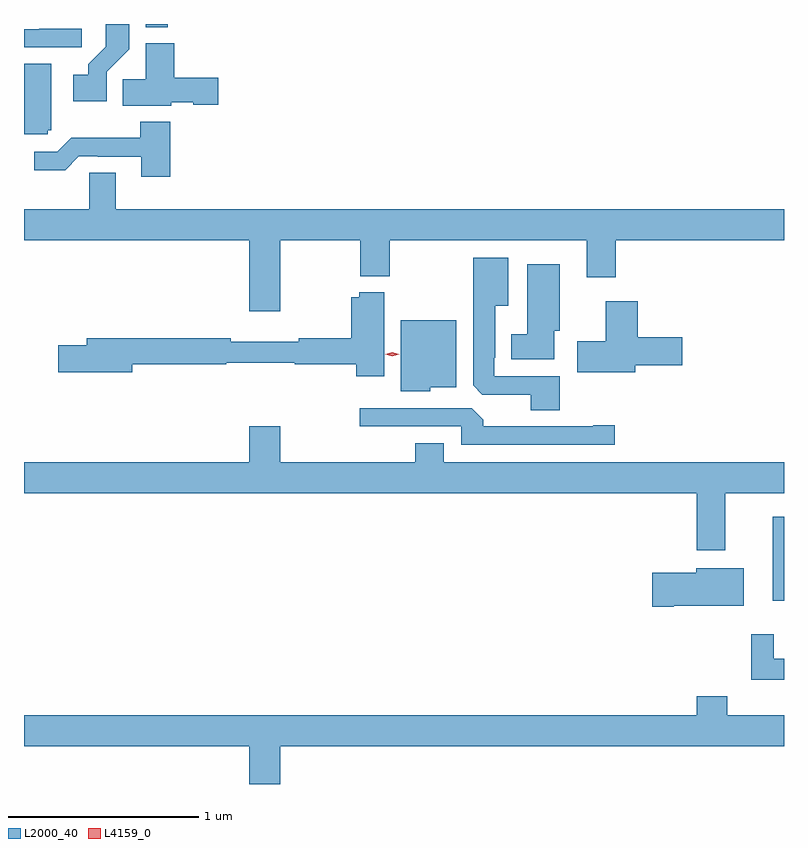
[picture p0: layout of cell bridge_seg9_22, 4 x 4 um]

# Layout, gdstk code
import gdstk
lib = gdstk.Library(unit=1e-6, precision=1e-09)
def R(c, l, rs):  # rectangles x0, y0, x1, y1
    for r in rs: c.add(gdstk.rectangle(r[:2], r[2:], *l))
def P(c, l, *ps):  # polygons
    for p in ps: c.add(gdstk.Polygon(p, *l))
L2000_40 = (2000, 40)
L4159_0 = (4159, 0)

bridge_seg9_22 = lib.new_cell('bridge_seg9_22')
R(bridge_seg9_22, L2000_40, [(1018.913,1170.546,1018.971,1170.988), (1015.611,1173.566,1015.727,1173.582)])
P(bridge_seg9_22, L2000_40, [(1015.407,1173.331),(1015.526,1173.45),(1015.526,1173.582),(1015.401,1173.582),(1015.401,1173.461),(1015.31,1173.371),(1015.31,1173.316),(1015.23,1173.316),(1015.23,1173.176),(1015.407,1173.176)],
  [(1015.276,1173.558),(1015.051,1173.558),(1015.051,1173.555),(1014.971,1173.555),(1014.971,1173.459),(1015.276,1173.459)],
  [(1015.746,1173.17),(1015.863,1173.17),(1015.863,1173.158),(1015.993,1173.158),(1015.993,1173.3),(1015.763,1173.3),(1015.763,1173.481),(1015.613,1173.481),(1015.613,1173.29),(1015.492,1173.29),(1015.492,1173.152),(1015.746,1173.152)],
  [(1015.095,1173.024),(1015.114,1173.024),(1015.114,1173.373),(1014.971,1173.373),(1014.971,1173.003),(1015.095,1173.003)],
  [(1015.742,1173.067),(1015.582,1173.067),(1015.582,1172.983),(1015.219,1172.983),(1015.146,1172.91),(1015.026,1172.91),(1015.026,1172.813),(1015.187,1172.813),(1015.26,1172.886),(1015.36,1172.886),(1015.36,1172.883),(1015.589,1172.883),(1015.589,1172.778),(1015.742,1172.778)],
  [(1016.32,1172.444),(1016.74,1172.444),(1016.74,1172.255),(1016.895,1172.255),(1016.895,1172.444),(1017.932,1172.444),(1017.932,1172.25),(1018.085,1172.25),(1018.085,1172.444),(1018.971,1172.444),(1018.971,1172.608),(1015.453,1172.608),(1015.453,1172.798),(1015.314,1172.798),(1015.314,1172.608),(1014.971,1172.608),(1014.971,1172.444),(1016.156,1172.444),(1016.156,1172.07),(1016.32,1172.07)],
  [(1017.791,1171.728),(1017.447,1171.728),(1017.447,1171.825),(1017.451,1171.825),(1017.451,1172.099),(1017.52,1172.099),(1017.52,1172.353),(1017.335,1172.353),(1017.335,1171.681),(1017.384,1171.632),(1017.638,1171.632),(1017.638,1171.549),(1017.791,1171.549)],
  [(1017.763,1171.968),(1017.79,1171.968),(1017.79,1172.317),(1017.62,1172.317),(1017.62,1171.948),(1017.536,1171.948),(1017.536,1171.817),(1017.763,1171.817)],
  [(1016.866,1172.17),(1016.736,1172.17),(1016.736,1172.143),(1016.693,1172.143),(1016.693,1171.928),(1016.416,1171.928),(1016.416,1171.909),(1016.06,1171.909),(1016.06,1171.928),(1015.301,1171.928),(1015.301,1171.892),(1015.152,1171.892),(1015.152,1171.75),(1015.54,1171.75),(1015.54,1171.792),(1016.036,1171.792),(1016.036,1171.8),(1016.397,1171.8),(1016.397,1171.792),(1016.72,1171.792),(1016.72,1171.728),(1016.866,1171.728)],
  [(1018.189,1171.787),(1018.435,1171.787),(1018.435,1171.934),(1018.202,1171.934),(1018.202,1172.122),(1018.034,1172.122),(1018.034,1171.911),(1017.882,1171.911),(1017.882,1171.748),(1018.189,1171.748)],
  [(1017.108,1171.67),(1017.247,1171.67),(1017.247,1172.023),(1016.954,1172.023),(1016.954,1171.649),(1017.108,1171.649)],
  [(1018.081,1171.469),(1017.968,1171.469),(1017.968,1171.464),(1017.389,1171.464),(1017.389,1171.498),(1017.327,1171.56),(1016.739,1171.56),(1016.739,1171.464),(1017.273,1171.464),(1017.273,1171.368),(1018.081,1171.368)],
  [(1018.663,1171.112),(1018.971,1171.112),(1018.971,1171.276),(1017.181,1171.276),(1017.181,1171.375),(1017.029,1171.375),(1017.029,1171.276),(1016.32,1171.276),(1016.32,1171.465),(1016.156,1171.465),(1016.156,1171.276),(1014.971,1171.276),(1014.971,1171.112),(1018.511,1171.112),(1018.511,1170.813),(1018.663,1170.813)],
  [(1018.39,1170.52),(1018.759,1170.52),(1018.759,1170.718),(1018.508,1170.718),(1018.508,1170.693),(1018.278,1170.693),(1018.278,1170.515),(1018.39,1170.515)],
  [(1018.971,1170.241),(1018.917,1170.241),(1018.917,1170.37),(1018.798,1170.37),(1018.798,1170.132),(1018.971,1170.132)],
  [(1016.32,1169.78),(1018.971,1169.78),(1018.971,1169.944),(1018.671,1169.944),(1018.671,1170.043),(1018.511,1170.043),(1018.511,1169.944),(1014.971,1169.944),(1014.971,1169.78),(1016.156,1169.78),(1016.156,1169.582),(1016.32,1169.582)])
P(bridge_seg9_22, L4159_0, [(1016.909,1171.834),(1016.871,1171.844),(1016.871,1171.844),(1016.871,1171.844),(1016.909,1171.854),(1016.947,1171.844),(1016.947,1171.844),(1016.947,1171.844)])

lib.write_gds('bridge_seg9_22.gds')
